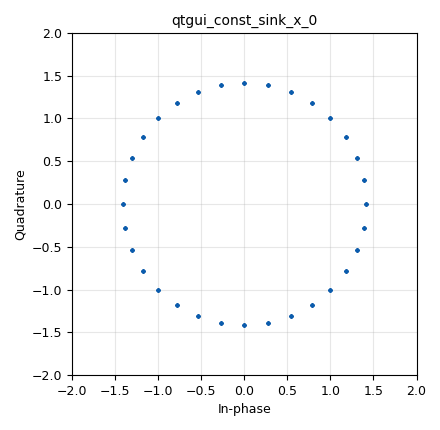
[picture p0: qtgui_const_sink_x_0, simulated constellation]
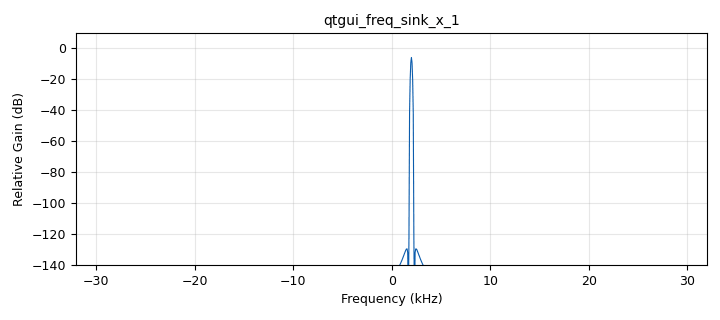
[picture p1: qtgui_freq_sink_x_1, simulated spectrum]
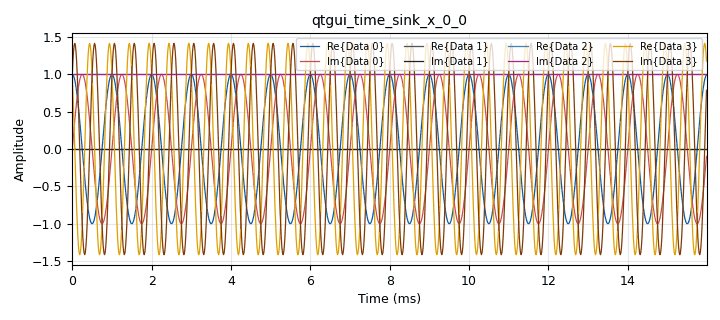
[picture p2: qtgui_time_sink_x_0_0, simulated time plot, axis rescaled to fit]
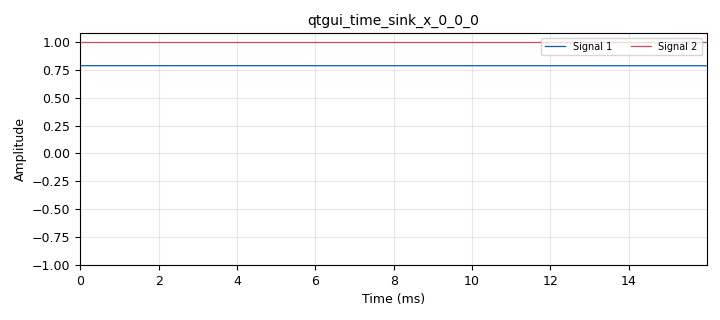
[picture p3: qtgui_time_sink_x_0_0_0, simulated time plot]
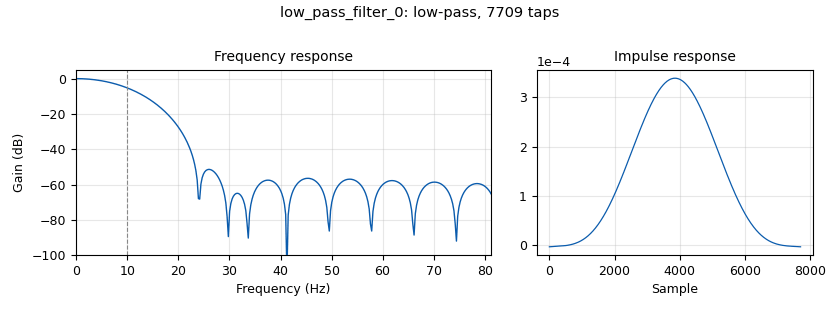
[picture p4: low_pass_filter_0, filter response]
options:
  parameters:
    generate_options: qt_gui
    id: ask
    output_language: python
    title: Not titled yet
  states: {}

blocks:
- name: cw_frq
  id: variable_qtgui_range
  parameters:
    label: cw_frq
    orient: Qt.Horizontal
    start: 1e3
    step: '100'
    stop: 16e3
    value: 1e3
  states: {}
- name: radians
  id: variable_qtgui_range
  parameters:
    label: radians
    orient: Qt.Horizontal
    start: '3'
    step: '0.00001'
    stop: '3.14159265359'
    value: '3.14'
  states: {}
- name: samp_rate
  id: variable
  parameters:
    value: 64e3
  states: {}
- name: variable_qtgui_chooser_0
  id: variable_qtgui_chooser
  parameters:
    label0: Square_wave
    label1: Zero
    num_opts: '2'
    option0: '0'
    option1: '1'
    type: int
    value: '0'
  states: {}
- name: analog_quadrature_demod_cf_0
  id: analog_quadrature_demod_cf
  parameters:
    gain: '4'
  states: {}
- name: analog_sig_source_x_0
  id: analog_sig_source_x
  parameters:
    amp: '1'
    freq: cw_frq
    offset: '0'
    phase: '0'
    samp_rate: samp_rate
    type: complex
    waveform: analog.GR_COS_WAVE
  states: {}
- name: analog_sig_source_x_0_0
  id: analog_sig_source_x
  parameters:
    amp: '1'
    freq: cw_frq*2
    offset: '0'
    phase: '0'
    samp_rate: samp_rate
    type: complex
    waveform: analog.GR_COS_WAVE
  states: {}
- name: analog_sig_source_x_1
  id: analog_sig_source_x
  parameters:
    amp: '1'
    freq: cw_frq/1000
    offset: '0'
    phase: '0'
    samp_rate: samp_rate
    type: float
    waveform: analog.GR_SQR_WAVE
  states: {}
- name: analog_sig_source_x_1_0
  id: analog_sig_source_x
  parameters:
    amp: '1'
    freq: cw_frq/1000
    offset: '0'
    phase: radians
    samp_rate: samp_rate
    type: float
    waveform: analog.GR_SQR_WAVE
  states: {}
- name: blocks_add_xx_0
  id: blocks_add_xx
  parameters:
    type: complex
  states: {}
- name: blocks_float_to_complex_0
  id: blocks_float_to_complex
  parameters: {}
  states: {}
- name: blocks_float_to_complex_0_0
  id: blocks_float_to_complex
  parameters: {}
  states: {}
- name: blocks_multiply_xx_0
  id: blocks_multiply_xx
  parameters:
    type: complex
  states: {}
- name: blocks_multiply_xx_0_0
  id: blocks_multiply_xx
  parameters:
    type: complex
  states: {}
- name: low_pass_filter_0
  id: low_pass_filter
  parameters:
    cutoff_freq: cw_frq/100
    decim: '1'
    gain: '1'
    samp_rate: samp_rate
    type: fir_filter_fff
    width: cw_frq/50
    win: firdes.WIN_HAMMING
  states: {}
- name: qtgui_const_sink_x_0
  id: qtgui_const_sink_x
  parameters:
    gui_hint: tabs@2
    size: '1024'
    type: complex
  states: {}
- name: qtgui_freq_sink_x_1
  id: qtgui_freq_sink_x
  parameters:
    bw: samp_rate
    ctrlpanel: 'True'
    fc: '0'
    fftsize: '1024'
    gui_hint: tabs@1
    type: complex
    wintype: firdes.WIN_BLACKMAN_hARRIS
  states: {}
- name: qtgui_time_sink_x_0_0
  id: qtgui_time_sink_x
  parameters:
    ctrlpanel: 'True'
    gui_hint: tabs@0
    nconnections: '4'
    size: '1024'
    srate: samp_rate
    type: complex
  states: {}
- name: qtgui_time_sink_x_0_0_0
  id: qtgui_time_sink_x
  parameters:
    ctrlpanel: 'True'
    gui_hint: tabs@3
    nconnections: '2'
    size: '1024'
    srate: samp_rate
    type: float
  states: {}
- name: tabs
  id: qtgui_tab_widget
  parameters:
    label0: 1_time_input
    label1: 2_freq
    label2: 3_const_input
    label3: 4_mult_result
    label4: 5_freq_mult
    label5: Tab 5
    num_tabs: '6'
  states: {}

connections:
- [analog_quadrature_demod_cf_0, '0', low_pass_filter_0, '0']
- [analog_sig_source_x_0, '0', blocks_multiply_xx_0, '0']
- [analog_sig_source_x_0, '0', qtgui_time_sink_x_0_0, '0']
- [analog_sig_source_x_0_0, '0', blocks_multiply_xx_0_0, '1']
- [analog_sig_source_x_1, '0', blocks_float_to_complex_0, '0']
- [analog_sig_source_x_1, '0', blocks_float_to_complex_0, '1']
- [analog_sig_source_x_1_0, '0', blocks_float_to_complex_0_0, '0']
- [analog_sig_source_x_1_0, '0', blocks_float_to_complex_0_0, '1']
- [analog_sig_source_x_1_0, '0', qtgui_time_sink_x_0_0_0, '1']
- [blocks_add_xx_0, '0', analog_quadrature_demod_cf_0, '0']
- [blocks_add_xx_0, '0', qtgui_const_sink_x_0, '0']
- [blocks_add_xx_0, '0', qtgui_freq_sink_x_1, '0']
- [blocks_float_to_complex_0, '0', blocks_multiply_xx_0, '1']
- [blocks_float_to_complex_0, '0', qtgui_time_sink_x_0_0, '1']
- [blocks_float_to_complex_0_0, '0', blocks_multiply_xx_0_0, '0']
- [blocks_float_to_complex_0_0, '0', qtgui_time_sink_x_0_0, '2']
- [blocks_multiply_xx_0, '0', blocks_add_xx_0, '0']
- [blocks_multiply_xx_0_0, '0', blocks_add_xx_0, '1']
- [blocks_multiply_xx_0_0, '0', qtgui_time_sink_x_0_0, '3']
- [low_pass_filter_0, '0', qtgui_time_sink_x_0_0_0, '0']

metadata:
  file_format: 1
